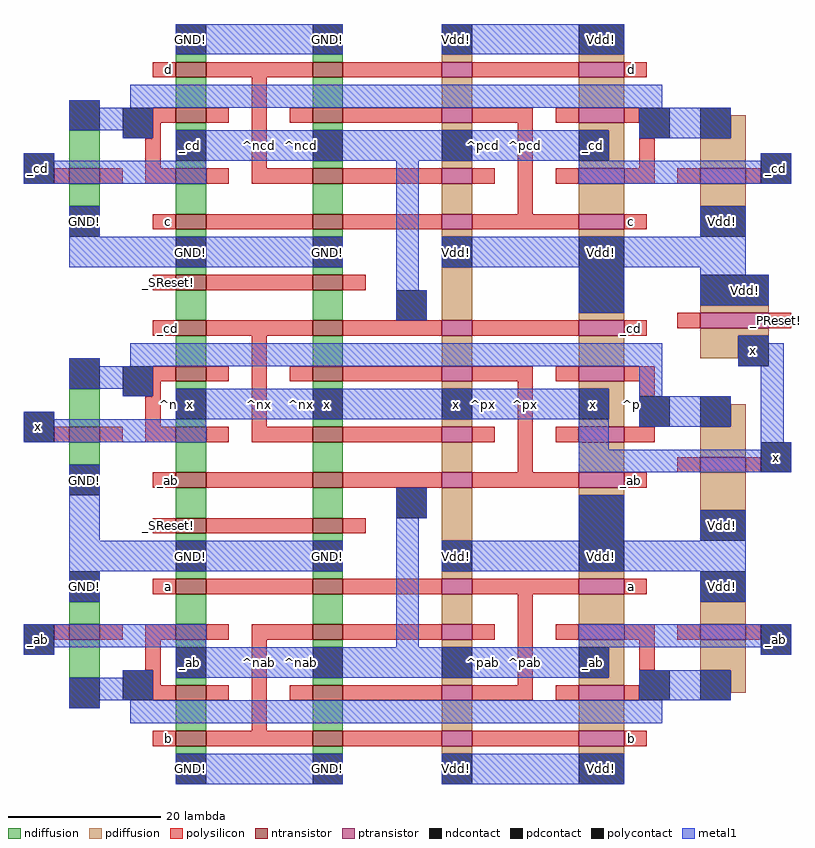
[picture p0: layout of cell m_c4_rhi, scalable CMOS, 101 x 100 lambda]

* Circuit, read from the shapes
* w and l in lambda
.subckt m_c4_rhi GND! Vdd! _PReset! _SReset! _ab _cd a b c d x
M1 GND! _ab n1 VSUBS nfet w=4 l=2
M2 n2 x GND! VSUBS nfet w=4 l=2
M3 n3 _cd GND! VSUBS nfet w=4 l=2
M4 n4 b GND! VSUBS nfet w=4 l=2
M5 _ab n1 n4 VSUBS nfet w=4 l=2
M6 n5 n1 _ab VSUBS nfet w=4 l=2
M7 GND! a n5 VSUBS nfet w=4 l=2
M8 n6 _SReset! GND! VSUBS nfet w=4 l=2
M9 n7 _ab n6 VSUBS nfet w=4 l=2
M10 x n2 n7 VSUBS nfet w=4 l=2
M11 n8 n2 x VSUBS nfet w=4 l=2
M12 n9 _cd n8 VSUBS nfet w=4 l=2
M13 GND! _SReset! n9 VSUBS nfet w=4 l=2
M14 n10 c GND! VSUBS nfet w=4 l=2
M15 _cd n3 n10 VSUBS nfet w=4 l=2
M16 n11 n3 _cd VSUBS nfet w=4 l=2
M17 GND! d n11 VSUBS nfet w=4 l=2
M18 n12 b GND! VSUBS nfet w=4 l=2
M19 _ab a n12 VSUBS nfet w=4 l=2
M20 n13 b _ab VSUBS nfet w=4 l=2
M21 GND! a n13 VSUBS nfet w=4 l=2
M22 n14 _SReset! GND! VSUBS nfet w=4 l=2
M23 n15 _ab n14 VSUBS nfet w=4 l=2
M24 x _cd n15 VSUBS nfet w=4 l=2
M25 n16 _ab x VSUBS nfet w=4 l=2
M26 n17 _cd n16 VSUBS nfet w=4 l=2
M27 GND! _SReset! n17 VSUBS nfet w=4 l=2
M28 n18 c GND! VSUBS nfet w=4 l=2
M29 _cd d n18 VSUBS nfet w=4 l=2
M30 n19 c _cd VSUBS nfet w=4 l=2
M31 GND! d n19 VSUBS nfet w=4 l=2
M32 n20 b Vdd! NWELL pfet w=4 l=2
M33 _ab a n20 NWELL pfet w=4 l=2
M34 n21 b _ab NWELL pfet w=4 l=2
M35 Vdd! a n21 NWELL pfet w=4 l=2
M36 n22 _ab Vdd! NWELL pfet w=4 l=2
M37 x _cd n22 NWELL pfet w=4 l=2
M38 n23 _ab x NWELL pfet w=4 l=2
M39 Vdd! _cd n23 NWELL pfet w=4 l=2
M40 n24 c Vdd! NWELL pfet w=4 l=2
M41 _cd d n24 NWELL pfet w=4 l=2
M42 n25 c _cd NWELL pfet w=4 l=2
M43 Vdd! d n25 NWELL pfet w=4 l=2
M44 n26 b Vdd! NWELL pfet w=6 l=2
M45 _ab n1 n26 NWELL pfet w=6 l=2
M46 n27 n1 _ab NWELL pfet w=6 l=2
M47 Vdd! a n27 NWELL pfet w=6 l=2
M48 n28 _ab Vdd! NWELL pfet w=6 l=2
M49 x n2 n28 NWELL pfet w=6 l=2
M50 n29 n2 x NWELL pfet w=6 l=2
M51 Vdd! _cd n29 NWELL pfet w=6 l=2
M52 n30 c Vdd! NWELL pfet w=6 l=2
M53 _cd n3 n30 NWELL pfet w=6 l=2
M54 n31 n3 _cd NWELL pfet w=6 l=2
M55 Vdd! d n31 NWELL pfet w=6 l=2
M56 Vdd! _ab n1 NWELL pfet w=6 l=2
M57 n2 x Vdd! NWELL pfet w=6 l=2
M58 Vdd! _PReset! x NWELL pfet w=9 l=2
M59 n3 _cd Vdd! NWELL pfet w=6 l=2
.ends

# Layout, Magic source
magic
tech scmos
<< ndiffusion >>
rect 14 155 18 156
rect 32 155 36 156
rect 14 149 18 153
rect 0 141 4 146
rect 14 146 18 147
rect 14 141 18 142
rect 32 149 36 153
rect 32 146 36 147
rect 32 141 36 142
rect 0 136 4 139
rect 14 135 18 139
rect 32 135 36 139
rect 14 132 18 133
rect 14 127 18 128
rect 32 132 36 133
rect 32 127 36 128
rect 14 121 18 125
rect 32 121 36 125
rect 14 115 18 119
rect 0 107 4 112
rect 14 112 18 113
rect 14 107 18 108
rect 32 115 36 119
rect 32 112 36 113
rect 32 107 36 108
rect 0 102 4 105
rect 14 101 18 105
rect 32 101 36 105
rect 14 95 18 99
rect 32 95 36 99
rect 14 92 18 93
rect 14 87 18 88
rect 32 92 36 93
rect 32 87 36 88
rect 0 81 4 84
rect 14 81 18 85
rect 32 81 36 85
rect 0 74 4 79
rect 14 78 18 79
rect 14 73 18 74
rect 14 67 18 71
rect 32 78 36 79
rect 32 73 36 74
rect 32 67 36 71
rect 14 64 18 65
rect 32 64 36 65
<< pdiffusion >>
rect 49 155 53 156
rect 67 155 73 156
rect 49 149 53 153
rect 67 149 73 153
rect 49 146 53 147
rect 49 141 53 142
rect 49 135 53 139
rect 67 146 73 147
rect 71 142 73 146
rect 67 141 73 142
rect 87 145 89 148
rect 83 141 89 145
rect 67 135 73 139
rect 83 136 89 139
rect 49 132 53 133
rect 49 121 53 128
rect 67 132 73 133
rect 83 122 92 123
rect 67 121 73 122
rect 83 119 92 120
rect 49 115 53 119
rect 67 115 73 119
rect 83 116 88 119
rect 49 112 53 113
rect 49 107 53 108
rect 49 101 53 105
rect 67 112 73 113
rect 71 108 73 112
rect 67 107 73 108
rect 87 107 89 110
rect 67 101 73 105
rect 83 103 89 107
rect 49 92 53 99
rect 49 87 53 88
rect 67 98 73 99
rect 83 96 89 101
rect 67 87 73 88
rect 49 81 53 85
rect 49 78 53 79
rect 49 73 53 74
rect 67 81 73 85
rect 83 81 89 84
rect 67 78 73 79
rect 71 74 73 78
rect 67 73 73 74
rect 83 75 89 79
rect 87 72 89 75
rect 49 67 53 71
rect 67 67 73 71
rect 49 64 53 65
rect 67 64 73 65
<< ntransistor >>
rect 14 153 18 155
rect 32 153 36 155
rect 14 147 18 149
rect 32 147 36 149
rect 0 139 4 141
rect 14 139 18 141
rect 32 139 36 141
rect 14 133 18 135
rect 32 133 36 135
rect 14 125 18 127
rect 32 125 36 127
rect 14 119 18 121
rect 32 119 36 121
rect 14 113 18 115
rect 32 113 36 115
rect 0 105 4 107
rect 14 105 18 107
rect 32 105 36 107
rect 14 99 18 101
rect 32 99 36 101
rect 14 93 18 95
rect 32 93 36 95
rect 14 85 18 87
rect 32 85 36 87
rect 0 79 4 81
rect 14 79 18 81
rect 32 79 36 81
rect 14 71 18 73
rect 32 71 36 73
rect 14 65 18 67
rect 32 65 36 67
<< ptransistor >>
rect 49 153 53 155
rect 67 153 73 155
rect 49 147 53 149
rect 67 147 73 149
rect 49 139 53 141
rect 67 139 73 141
rect 83 139 89 141
rect 49 133 53 135
rect 67 133 73 135
rect 49 119 53 121
rect 67 119 73 121
rect 83 120 92 122
rect 49 113 53 115
rect 67 113 73 115
rect 49 105 53 107
rect 67 105 73 107
rect 83 101 89 103
rect 49 99 53 101
rect 67 99 73 101
rect 49 85 53 87
rect 67 85 73 87
rect 49 79 53 81
rect 67 79 73 81
rect 83 79 89 81
rect 49 71 53 73
rect 67 71 73 73
rect 49 65 53 67
rect 67 65 73 67
<< polysilicon >>
rect 11 153 14 155
rect 18 153 32 155
rect 36 153 49 155
rect 53 153 67 155
rect 73 153 76 155
rect 11 147 14 149
rect 18 147 21 149
rect 11 145 12 147
rect 10 141 12 145
rect 24 141 26 153
rect 29 147 32 149
rect 36 147 49 149
rect 53 147 61 149
rect 64 147 67 149
rect 73 147 75 149
rect -2 139 0 141
rect 4 139 7 141
rect 10 139 14 141
rect 18 139 21 141
rect 24 139 32 141
rect 36 139 49 141
rect 53 139 56 141
rect 59 135 61 147
rect 75 141 77 145
rect 64 139 67 141
rect 73 139 77 141
rect 80 139 83 141
rect 89 139 91 141
rect 11 133 14 135
rect 18 133 32 135
rect 36 133 49 135
rect 53 133 67 135
rect 73 133 76 135
rect 11 125 14 127
rect 18 125 32 127
rect 36 125 39 127
rect 11 119 14 121
rect 18 119 32 121
rect 36 119 49 121
rect 53 119 67 121
rect 73 119 76 121
rect 80 120 83 122
rect 92 120 95 122
rect 11 113 14 115
rect 18 113 21 115
rect 11 111 12 113
rect 10 107 12 111
rect 24 107 26 119
rect 29 113 32 115
rect 36 113 49 115
rect 53 113 61 115
rect 64 113 67 115
rect 73 113 77 115
rect -2 105 0 107
rect 4 105 7 107
rect 10 105 14 107
rect 18 105 21 107
rect 24 105 32 107
rect 36 105 49 107
rect 53 105 56 107
rect 59 101 61 113
rect 75 111 77 113
rect 64 105 67 107
rect 73 105 77 107
rect 80 101 83 103
rect 89 101 91 103
rect 11 99 14 101
rect 18 99 32 101
rect 36 99 49 101
rect 53 99 67 101
rect 73 99 76 101
rect 11 93 14 95
rect 18 93 32 95
rect 36 93 39 95
rect 11 85 14 87
rect 18 85 32 87
rect 36 85 49 87
rect 53 85 67 87
rect 73 85 76 87
rect -2 79 0 81
rect 4 79 7 81
rect 10 79 14 81
rect 18 79 21 81
rect 24 79 32 81
rect 36 79 49 81
rect 53 79 56 81
rect 10 75 12 79
rect 11 73 12 75
rect 11 71 14 73
rect 18 71 21 73
rect 24 67 26 79
rect 59 73 61 85
rect 64 79 67 81
rect 73 79 77 81
rect 80 79 83 81
rect 89 79 91 81
rect 75 75 77 79
rect 29 71 32 73
rect 36 71 49 73
rect 53 71 61 73
rect 64 71 67 73
rect 73 71 75 73
rect 11 65 14 67
rect 18 65 32 67
rect 36 65 49 67
rect 53 65 67 67
rect 73 65 76 67
<< ndcontact >>
rect 14 156 18 160
rect 32 156 36 160
rect 0 146 4 150
rect 14 142 18 146
rect 32 142 36 146
rect 0 132 4 136
rect 14 128 18 132
rect 32 128 36 132
rect 0 112 4 116
rect 14 108 18 112
rect 32 108 36 112
rect 0 98 4 102
rect 14 88 18 92
rect 0 84 4 88
rect 32 88 36 92
rect 0 70 4 74
rect 14 74 18 78
rect 32 74 36 78
rect 14 60 18 64
rect 32 60 36 64
<< pdcontact >>
rect 49 156 53 160
rect 67 156 73 160
rect 49 142 53 146
rect 67 142 71 146
rect 83 145 87 149
rect 49 128 53 132
rect 83 132 89 136
rect 67 122 73 132
rect 83 123 92 127
rect 88 115 92 119
rect 49 108 53 112
rect 67 108 71 112
rect 83 107 87 111
rect 49 88 53 92
rect 67 88 73 98
rect 83 92 89 96
rect 49 74 53 78
rect 83 84 89 88
rect 67 74 71 78
rect 83 71 87 75
rect 49 60 53 64
rect 67 60 73 64
<< polycontact >>
rect -6 139 -2 143
rect 7 145 11 149
rect 75 145 79 149
rect 91 139 95 143
rect 43 121 47 125
rect -6 105 -2 109
rect 7 111 11 115
rect 75 107 79 111
rect 91 101 95 105
rect 43 95 47 99
rect -6 77 -2 81
rect 7 71 11 75
rect 91 77 95 81
rect 75 71 79 75
<< metal1 >>
rect 14 156 36 160
rect 49 156 73 160
rect 0 149 4 150
rect 8 149 78 152
rect 0 146 11 149
rect 7 145 11 146
rect -6 142 -2 143
rect 14 142 71 146
rect 75 145 87 149
rect 91 142 95 143
rect -6 139 18 142
rect 0 132 4 136
rect 0 128 36 132
rect 43 125 46 142
rect 67 139 95 142
rect 83 132 89 136
rect 49 128 89 132
rect 43 121 47 125
rect 67 122 73 128
rect 83 127 89 128
rect 83 123 92 127
rect 88 118 92 119
rect 0 115 4 116
rect 8 115 78 118
rect 88 115 94 118
rect 0 112 11 115
rect 7 111 11 112
rect -6 108 -2 109
rect 14 108 71 112
rect -6 105 18 108
rect 67 104 71 108
rect 75 111 78 115
rect 75 107 87 111
rect 91 105 94 115
rect 91 104 95 105
rect 0 92 4 102
rect 67 101 95 104
rect 43 95 47 99
rect 0 88 36 92
rect 0 84 4 88
rect -6 78 18 81
rect 43 78 46 95
rect 67 92 73 98
rect 83 92 89 96
rect 49 88 89 92
rect 83 84 89 88
rect 67 78 95 81
rect -6 77 -2 78
rect 7 74 11 75
rect 14 74 71 78
rect 91 77 95 78
rect 0 71 11 74
rect 75 71 87 75
rect 0 70 4 71
rect 8 68 78 71
rect 14 60 36 64
rect 49 60 73 64
<< labels >>
rlabel polysilicon 74 100 74 100 1 _ab
rlabel polysilicon 74 120 74 120 1 _cd
rlabel polysilicon 74 86 74 86 5 a
rlabel polysilicon 74 66 74 66 5 b
rlabel polysilicon 74 134 74 134 1 c
rlabel polysilicon 74 154 74 154 1 d
rlabel space 53 64 56 88 7 ^pab
rlabel space 58 65 62 87 7 ^pab
rlabel space 58 99 62 121 7 ^px
rlabel space 53 92 56 128 7 ^px
rlabel space 58 133 62 155 7 ^pcd
rlabel space 53 132 56 156 7 ^pcd
rlabel polysilicon 93 121 93 121 1 _PReset!
rlabel space 52 59 96 161 3 ^p
rlabel polysilicon 13 126 13 126 1 _SReset!
rlabel polysilicon 13 94 13 94 1 _SReset!
rlabel polysilicon 13 100 13 100 1 _ab
rlabel polysilicon 13 120 13 120 1 _cd
rlabel polysilicon 13 86 13 86 5 a
rlabel polysilicon 13 66 13 66 5 b
rlabel polysilicon 13 134 13 134 1 c
rlabel polysilicon 13 154 13 154 1 d
rlabel space 23 133 27 155 3 ^ncd
rlabel space 29 132 32 156 3 ^ncd
rlabel space 23 93 27 127 3 ^nx
rlabel space 29 92 32 128 3 ^nx
rlabel space 23 65 27 87 3 ^nab
rlabel space 29 64 32 88 3 ^nab
rlabel space -7 59 33 161 7 ^n
rlabel pdcontact 51 110 51 110 1 x
rlabel pdcontact 51 62 51 62 5 Vdd!
rlabel pdcontact 51 76 51 76 5 _ab
rlabel pdcontact 51 158 51 158 1 Vdd!
rlabel pdcontact 51 144 51 144 1 _cd
rlabel pdcontact 51 90 51 90 1 Vdd!
rlabel pdcontact 51 130 51 130 1 Vdd!
rlabel pdcontact 69 110 69 110 1 x
rlabel pdcontact 70 62 70 62 5 Vdd!
rlabel pdcontact 69 76 69 76 5 _ab
rlabel pdcontact 70 158 70 158 1 Vdd!
rlabel pdcontact 69 144 69 144 1 _cd
rlabel pdcontact 70 130 70 130 1 Vdd!
rlabel pdcontact 70 90 70 90 1 Vdd!
rlabel pdcontact 86 86 86 86 1 Vdd!
rlabel pdcontact 86 94 86 94 1 Vdd!
rlabel pdcontact 86 134 86 134 1 Vdd!
rlabel pdcontact 89 125 89 125 1 Vdd!
rlabel pdcontact 90 117 90 117 1 x
rlabel polycontact 93 103 93 103 1 x
rlabel polycontact 93 79 93 79 5 _ab
rlabel polycontact 93 141 93 141 1 _cd
rlabel ndcontact 34 110 34 110 1 x
rlabel ndcontact 34 62 34 62 5 GND!
rlabel ndcontact 34 76 34 76 5 _ab
rlabel ndcontact 34 90 34 90 1 GND!
rlabel ndcontact 34 158 34 158 1 GND!
rlabel ndcontact 34 144 34 144 1 _cd
rlabel ndcontact 34 130 34 130 1 GND!
rlabel ndcontact 16 62 16 62 5 GND!
rlabel ndcontact 16 158 16 158 1 GND!
rlabel ndcontact 16 130 16 130 1 GND!
rlabel ndcontact 16 90 16 90 1 GND!
rlabel ndcontact 2 86 2 86 5 GND!
rlabel ndcontact 2 134 2 134 1 GND!
rlabel ndcontact 2 100 2 100 1 GND!
rlabel polycontact -4 107 -4 107 1 x
rlabel polycontact -4 79 -4 79 5 _ab
rlabel polycontact -4 141 -4 141 1 _cd
rlabel ndcontact 16 110 16 110 1 x
rlabel ndcontact 16 144 16 144 1 _cd
rlabel ndcontact 16 76 16 76 5 _ab
<< end >>
